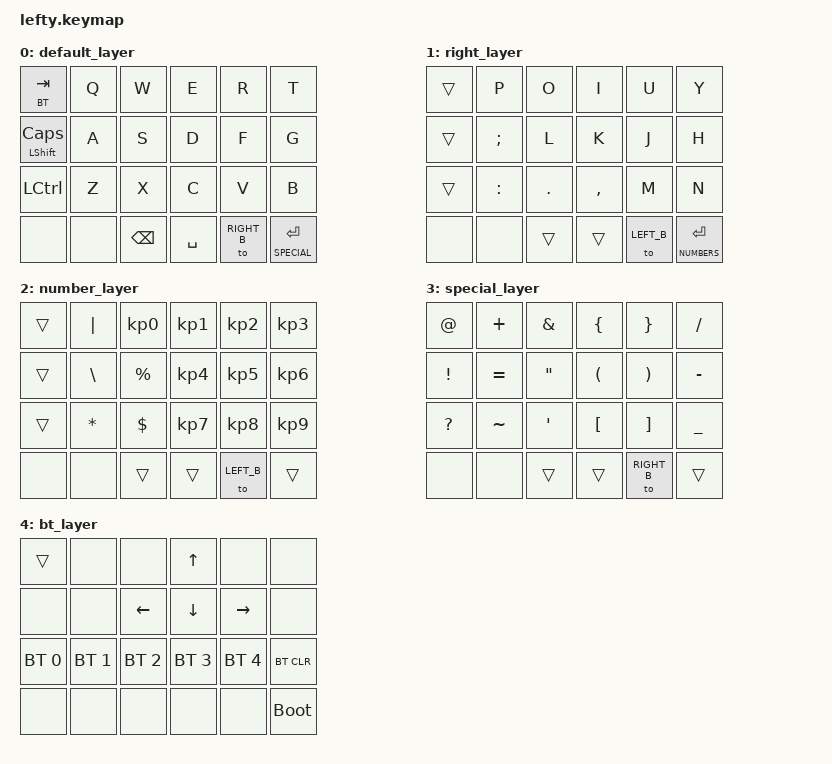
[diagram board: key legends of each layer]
/*
 * Copyright (c) 2021 Nick Winans
 *
 * SPDX-License-Identifier: MIT
 */

#include <behaviors.dtsi>
#include <dt-bindings/zmk/keys.h>
#include <dt-bindings/zmk/rgb.h>
#include <dt-bindings/zmk/bt.h>

#define LEFT_B 0
#define RIGHT_B 1
#define NUMBERS 2
#define SPECIAL 3
#define BT 4

/ {
    keymap {
        compatible = "zmk,keymap";

        default_layer {
            bindings = <
    &lt BT TAB      &kp Q  &kp W     &kp E      &kp R        &kp T
    &mt LSHFT CAPS  &kp A  &kp S     &kp D      &kp F        &kp G
    &kp LCTRL       &kp Z  &kp X     &kp C      &kp V        &kp B
    &none           &none  &kp BSPC  &kp SPACE  &to RIGHT_B  &lt SPECIAL RET
            >;
        };

        right_layer {
            bindings = <
    &trans  &kp P      &kp O   &kp I      &kp U       &kp Y
    &trans  &kp SEMI   &kp L   &kp K      &kp J       &kp H
    &trans  &kp COLON  &kp DOT &kp COMMA  &kp M       &kp N
    &none   &none     &trans  &trans     &to LEFT_B  &lt NUMBERS RET
            >;
        };

        number_layer {
            bindings = <
    &trans  &kp PIPE  &kp KP_N0  &kp KP_N1  &kp KP_N2   &kp KP_N3
    &trans  &kp BSLH  &kp PRCNT  &kp KP_N4  &kp KP_N5   &kp KP_N6
    &trans  &kp STAR  &kp DLLR   &kp KP_N7  &kp KP_N8   &kp KP_N9
    &none   &none     &trans     &trans     &to LEFT_B  &trans
            >;
        };

        special_layer {
            bindings = <
    &kp AT     &kp PLUS   &kp AMPS  &kp LBRC   &kp RBRC     &kp SLASH
    &kp EXCL   &kp EQUAL  &kp DQT   &kp LPAR   &kp RPAR     &kp MINUS
    &kp QMARK  &kp TILDE  &kp SQT   &kp LBKT   &kp RBKT     &kp UNDER
    &none      &none      &trans    &trans     &to RIGHT_B  &trans
            >;
        };

        bt_layer {
            bindings = <
    &trans        &none         &none         &kp UP        &none         &none
    &none         &none         &kp LEFT      &kp DOWN      &kp RIGHT     &none
    &bt BT_SEL 0  &bt BT_SEL 1  &bt BT_SEL 2  &bt BT_SEL 3  &bt BT_SEL 4  &bt BT_CLR
    &none         &none         &none         &none         &none         &bootloader
            >;
        };

    };
};
